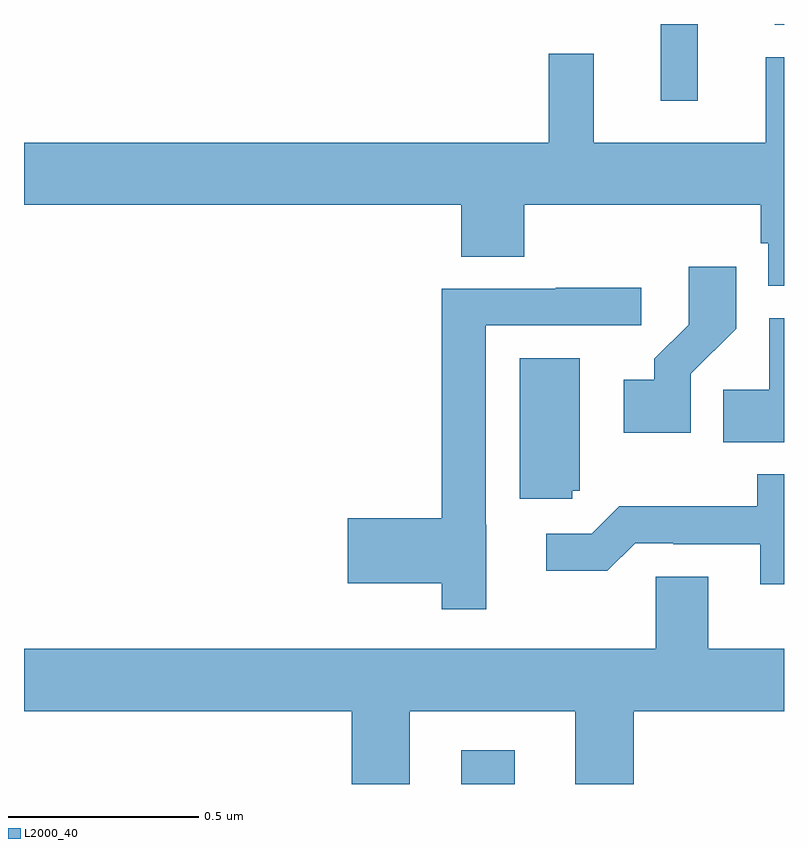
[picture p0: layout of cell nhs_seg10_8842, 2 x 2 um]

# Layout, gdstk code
import gdstk
lib = gdstk.Library(unit=1e-6, precision=1e-09)
def R(c, l, rs):  # rectangles x0, y0, x1, y1
    for r in rs: c.add(gdstk.rectangle(r[:2], r[2:], *l))
def P(c, l, *ps):  # polygons
    for p in ps: c.add(gdstk.Polygon(p, *l))
L2000_40 = (2000, 40)

nhs_seg10_8842 = lib.new_cell('nhs_seg10_8842')
R(nhs_seg10_8842, L2000_40, [(223.151,1257.5,223.291,1257.589), (223.676,1259.298,223.773,1259.5), (223.976,1259.498,224,1259.5)])
P(nhs_seg10_8842, L2000_40, [(224,1259.413),(223.952,1259.413),(223.952,1259.188),(223.499,1259.188),(223.499,1259.422),(223.381,1259.422),(223.381,1259.188),(222,1259.188),(222,1259.024),(223.151,1259.024),(223.151,1258.888),(223.316,1258.888),(223.316,1259.024),(223.939,1259.024),(223.939,1258.923),(223.959,1258.923),(223.959,1258.811),(224,1258.811)],
  [(223.755,1258.579),(223.874,1258.698),(223.874,1258.861),(223.749,1258.861),(223.749,1258.709),(223.658,1258.619),(223.658,1258.564),(223.578,1258.564),(223.578,1258.424),(223.755,1258.424)],
  [(223.216,1258.182),(223.215,1258.182),(223.215,1258.707),(223.624,1258.707),(223.624,1258.806),(223.399,1258.806),(223.399,1258.803),(223.099,1258.803),(223.099,1258.199),(222.852,1258.199),(222.852,1258.028),(223.099,1258.028),(223.099,1257.96),(223.216,1257.96)],
  [(224,1258.726),(223.961,1258.726),(223.961,1258.538),(223.84,1258.538),(223.84,1258.4),(224,1258.4)],
  [(223.443,1258.272),(223.462,1258.272),(223.462,1258.621),(223.304,1258.621),(223.304,1258.251),(223.443,1258.251)],
  [(224,1258.315),(223.93,1258.315),(223.93,1258.231),(223.567,1258.231),(223.494,1258.158),(223.374,1258.158),(223.374,1258.061),(223.535,1258.061),(223.608,1258.134),(223.708,1258.134),(223.708,1258.131),(223.937,1258.131),(223.937,1258.026),(224,1258.026)],
  [(223.015,1257.692),(223.451,1257.692),(223.451,1257.5),(223.604,1257.5),(223.604,1257.692),(224,1257.692),(224,1257.856),(223.801,1257.856),(223.801,1258.046),(223.662,1258.046),(223.662,1257.856),(222,1257.856),(222,1257.692),(222.863,1257.692),(222.863,1257.5),(223.015,1257.5)])

lib.write_gds('nhs_seg10_8842.gds')
